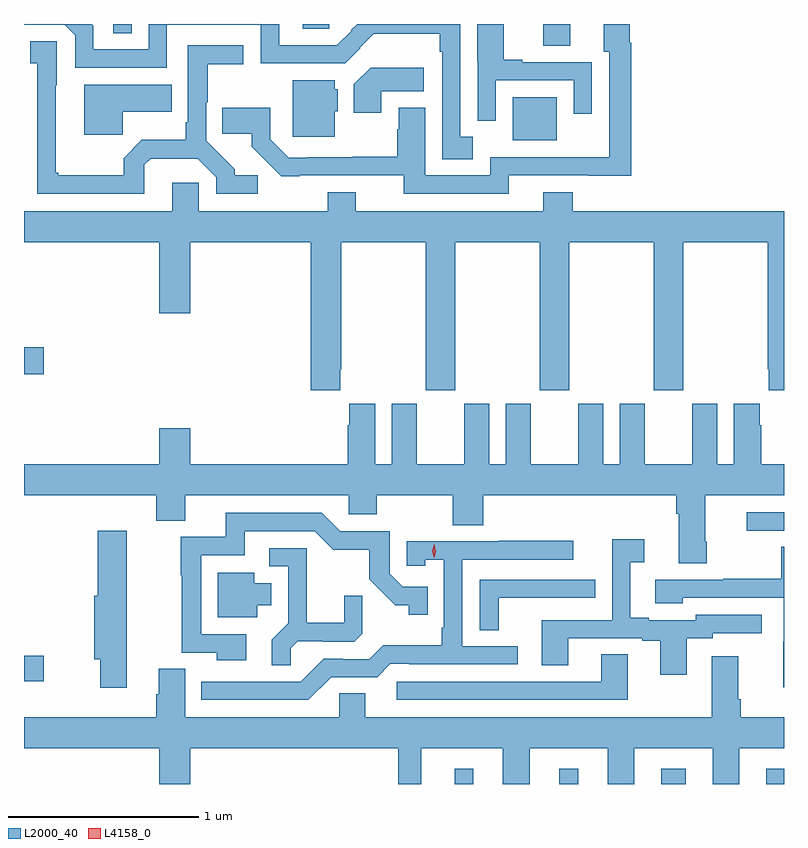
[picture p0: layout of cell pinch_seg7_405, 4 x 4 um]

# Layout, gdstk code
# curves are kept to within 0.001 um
import gdstk
lib = gdstk.Library(unit=1e-6, precision=1e-09)
def R(c, l, rs):  # rectangles x0, y0, x1, y1
    for r in rs: c.add(gdstk.rectangle(r[:2], r[2:], *l))
def P(c, l, *ps):  # polygons
    for p in ps: c.add(gdstk.Polygon(p, *l))
L2000_40 = (2000, 40)
L4158_0 = (4158, 0)

pinch_seg7_405 = lib.new_cell('pinch_seg7_405')
R(pinch_seg7_405, L2000_40, [(538.19,1012.417,538.288,1012.498), (538.742,1012.417,538.84,1012.498), (539.279,1012.417,539.407,1012.498), (539.831,1012.417,539.924,1012.498), (535.924,1012.958,536.029,1013.093), (539.727,1013.751,539.924,1013.847), (535.924,1014.574,536.029,1014.716), (538.496,1015.805,538.729,1016.032), (538.658,1016.302,538.798,1016.417), (536.394,1016.368,536.49,1016.417), (537.392,1016.392,537.531,1016.417)])
P(pinch_seg7_405, L2000_40, [(538.475,1015.62),(539.12,1015.619),(539.12,1016.318),(539.113,1016.318),(539.113,1016.417),(538.974,1016.417),(538.974,1016.271),(539.004,1016.271),(539.004,1015.716),(538.377,1015.716),(538.377,1015.62),(538.036,1015.62),(538.036,1015.975),(537.896,1015.975),(537.896,1015.862),(537.889,1015.862),(537.889,1015.719),(537.655,1015.719),(537.655,1015.716),(537.418,1015.716),(537.418,1015.714),(537.317,1015.714),(537.22,1015.811),(537.22,1015.977),(536.968,1015.977),(536.968,1015.84),(537.123,1015.84),(537.123,1015.771),(537.277,1015.616),(537.376,1015.616),(537.376,1015.62),(537.923,1015.62),(537.923,1015.524),(538.475,1015.524)],
  [(538.407,1016.121),(538.818,1016.121),(538.818,1015.944),(538.913,1015.944),(538.913,1016.216),(538.811,1016.216),(538.811,1016.217),(538.546,1016.217),(538.546,1016.23),(538.45,1016.23),(538.45,1016.417),(538.31,1016.417),(538.31,1016.224),(538.311,1016.224),(538.311,1015.908),(538.407,1015.908)],
  [(538.285,1015.824),(538.221,1015.824),(538.221,1016.417),(537.677,1016.417),(537.645,1016.385),(537.648,1016.382),(537.57,1016.304),(537.267,1016.304),(537.267,1016.417),(536.58,1016.417),(536.58,1016.283),(536.289,1016.283),(536.289,1016.409),(536.281,1016.417),(535.924,1016.417),(535.924,1016.412),(536.139,1016.412),(536.193,1016.358),(536.193,1016.187),(536.676,1016.187),(536.676,1016.412),(537.171,1016.412),(537.171,1016.211),(537.615,1016.211),(537.693,1016.289),(537.691,1016.291),(537.765,1016.366),(538.113,1016.366),(538.113,1016.27),(538.125,1016.27),(538.125,1015.705),(538.285,1015.705)],
  [(536.558,1015.676),(536.591,1015.709),(536.839,1015.709),(536.937,1015.611),(536.937,1015.524),(537.153,1015.524),(537.153,1015.62),(537.034,1015.62),(537.034,1015.652),(536.883,1015.803),(536.883,1016.006),(536.892,1016.006),(536.892,1016.206),(537.079,1016.206),(537.079,1016.304),(536.787,1016.304),(536.787,1015.9),(536.775,1015.9),(536.775,1015.807),(536.545,1015.807),(536.448,1015.71),(536.448,1015.622),(536.104,1015.622),(536.104,1015.633),(536.092,1015.633),(536.092,1016.094),(536.097,1016.094),(536.097,1016.327),(535.958,1016.327),(535.958,1016.21),(535.994,1016.21),(535.994,1015.524),(536.558,1015.524)],
  [(537.804,1016.064),(538.027,1016.064),(538.027,1016.188),(537.748,1016.188),(537.66,1016.099),(537.66,1015.95),(537.804,1015.95)],
  [(537.559,1015.959),(537.574,1015.959),(537.574,1016.073),(537.559,1016.073),(537.559,1016.122),(537.338,1016.122),(537.338,1015.823),(537.559,1015.823)],
  [(536.445,1015.955),(536.702,1015.955),(536.702,1016.098),(536.24,1016.098),(536.24,1015.835),(536.445,1015.835)],
  [(538.658,1015.531),(538.658,1015.432),(537.67,1015.432),(537.67,1015.531),(537.523,1015.531),(537.523,1015.432),(536.844,1015.432),(536.844,1015.582),(536.705,1015.582),(536.705,1015.432),(535.924,1015.432),(535.924,1015.268),(536.636,1015.268),(536.636,1014.894),(536.8,1014.894),(536.8,1015.268),(537.434,1015.268),(537.434,1014.489),(537.589,1014.489),(537.589,1014.601),(537.594,1014.601),(537.594,1015.268),(538.039,1015.268),(538.039,1014.489),(538.194,1014.489),(538.194,1015.268),(538.639,1015.268),(538.639,1014.489),(538.794,1014.489),(538.794,1015.268),(539.239,1015.268),(539.239,1014.489),(539.394,1014.489),(539.394,1015.268),(539.839,1015.268),(539.839,1014.601),(539.843,1014.601),(539.843,1014.489),(539.924,1014.489),(539.924,1015.432),(538.811,1015.432),(538.811,1015.531)],
  [(539.517,1013.692),(539.509,1013.692),(539.509,1013.936),(539.924,1013.936),(539.924,1014.1),(539.804,1014.1),(539.804,1014.305),(539.797,1014.305),(539.797,1014.418),(539.66,1014.418),(539.66,1014.1),(539.572,1014.1),(539.572,1014.418),(539.441,1014.418),(539.441,1014.1),(539.191,1014.1),(539.191,1014.418),(539.06,1014.418),(539.06,1014.1),(538.972,1014.1),(538.972,1014.418),(538.841,1014.418),(538.841,1014.1),(538.591,1014.1),(538.591,1014.418),(538.46,1014.418),(538.46,1014.1),(538.372,1014.1),(538.372,1014.418),(538.241,1014.418),(538.241,1014.1),(537.991,1014.1),(537.991,1014.418),(537.86,1014.418),(537.86,1014.1),(537.772,1014.1),(537.772,1014.418),(537.635,1014.418),(537.635,1014.305),(537.629,1014.305),(537.629,1014.1),(536.8,1014.1),(536.8,1014.289),(536.636,1014.289),(536.636,1014.1),(535.924,1014.1),(535.924,1013.936),(536.621,1013.936),(536.621,1013.803),(536.773,1013.803),(536.773,1013.936),(537.633,1013.936),(537.633,1013.838),(537.78,1013.838),(537.78,1013.936),(538.18,1013.936),(538.18,1013.779),(538.34,1013.779),(538.34,1013.936),(539.357,1013.936),(539.357,1013.84),(539.369,1013.84),(539.369,1013.58),(539.517,1013.58)],
  [(537.094,1013.205),(536.856,1013.205),(536.856,1013.622),(537.085,1013.622),(537.085,1013.748),(537.453,1013.748),(537.552,1013.65),(537.741,1013.65),(537.741,1013.494),(537.878,1013.357),(537.948,1013.357),(537.948,1013.307),(538.049,1013.307),(538.049,1013.454),(537.918,1013.454),(537.849,1013.523),(537.849,1013.748),(537.588,1013.748),(537.492,1013.844),(536.987,1013.844),(536.987,1013.718),(536.748,1013.718),(536.748,1013.515),(536.755,1013.515),(536.755,1013.109),(536.938,1013.109),(536.938,1013.069),(537.094,1013.069)],
  [(536.464,1013.409),(536.466,1013.409),(536.466,1013.749),(536.312,1013.749),(536.312,1013.409),(536.294,1013.409),(536.294,1013.073),(536.324,1013.073),(536.324,1012.923),(536.464,1012.923)],
  [(539.413,1013.184),(539.55,1013.184),(539.55,1013.211),(539.806,1013.211),(539.806,1013.307),(539.46,1013.307),(539.46,1013.28),(539.212,1013.28),(539.212,1013.293),(539.116,1013.293),(539.116,1013.584),(539.188,1013.584),(539.188,1013.704),(539.019,1013.704),(539.019,1013.28),(538.649,1013.28),(538.649,1013.041),(538.789,1013.041),(538.789,1013.184),(539.177,1013.184),(539.177,1013.172),(539.273,1013.172),(539.273,1012.992),(539.413,1012.992)],
  [(537.54,1012.98),(537.783,1012.98),(537.852,1013.049),(537.952,1013.049),(537.952,1013.046),(538.522,1013.046),(538.522,1013.142),(538.23,1013.142),(538.23,1013.598),(538.816,1013.598),(538.816,1013.697),(538.423,1013.697),(538.423,1013.694),(537.939,1013.694),(537.939,1013.565),(538.035,1013.565),(538.035,1013.597),(538.134,1013.597),(538.134,1013.239),(538.122,1013.239),(538.122,1013.146),(537.814,1013.146),(537.741,1013.073),(537.602,1013.073),(537.602,1013.076),(537.501,1013.076),(537.381,1012.956),(536.858,1012.956),(536.858,1012.86),(537.42,1012.86)],
  [(539.924,1013.666),(539.91,1013.666),(539.91,1013.496),(539.605,1013.496),(539.605,1013.493),(539.247,1013.493),(539.247,1013.369),(539.391,1013.369),(539.391,1013.397),(539.922,1013.397),(539.922,1013.165),(539.92,1013.165),(539.92,1012.925),(539.924,1012.925)],
  [(537.327,1013.132),(537.364,1013.169),(537.498,1013.169),(537.498,1013.166),(537.663,1013.166),(537.704,1013.207),(537.704,1013.409),(537.61,1013.409),(537.61,1013.266),(537.413,1013.266),(537.413,1013.658),(537.216,1013.658),(537.216,1013.562),(537.315,1013.562),(537.315,1013.263),(537.229,1013.177),(537.229,1013.041),(537.327,1013.041)],
  [(537.151,1013.357),(537.226,1013.357),(537.226,1013.473),(537.136,1013.473),(537.136,1013.53),(536.945,1013.53),(536.945,1013.294),(537.151,1013.294)],
  [(538.422,1013.397),(538.817,1013.397),(538.817,1013.398),(538.93,1013.398),(538.93,1013.493),(538.323,1013.493),(538.323,1013.227),(538.422,1013.227)],
  [(539.101,1013.099),(538.961,1013.099),(538.961,1012.956),(537.885,1012.956),(537.885,1012.86),(539.101,1012.86)],
  [(536.8,1012.604),(537.894,1012.604),(537.894,1012.417),(538.015,1012.417),(538.015,1012.604),(538.445,1012.604),(538.445,1012.417),(538.585,1012.417),(538.585,1012.604),(538.997,1012.604),(538.997,1012.417),(539.137,1012.417),(539.137,1012.604),(539.549,1012.604),(539.549,1012.417),(539.689,1012.417),(539.689,1012.604),(539.924,1012.604),(539.924,1012.768),(539.696,1012.768),(539.696,1012.864),(539.683,1012.864),(539.683,1013.089),(539.543,1013.089),(539.543,1012.768),(537.721,1012.768),(537.721,1012.895),(537.582,1012.895),(537.582,1012.768),(536.773,1012.768),(536.773,1013.024),(536.633,1013.024),(536.633,1012.89),(536.621,1012.89),(536.621,1012.768),(535.924,1012.768),(535.924,1012.604),(536.636,1012.604),(536.636,1012.417),(536.8,1012.417)])
P(pinch_seg7_405, L4158_0, [(538.082,1013.607),(538.082,1013.607),(538.072,1013.643),(538.082,1013.678),(538.082,1013.679),(538.083,1013.678),(538.092,1013.643),(538.083,1013.607)])

lib.write_gds('pinch_seg7_405.gds')
